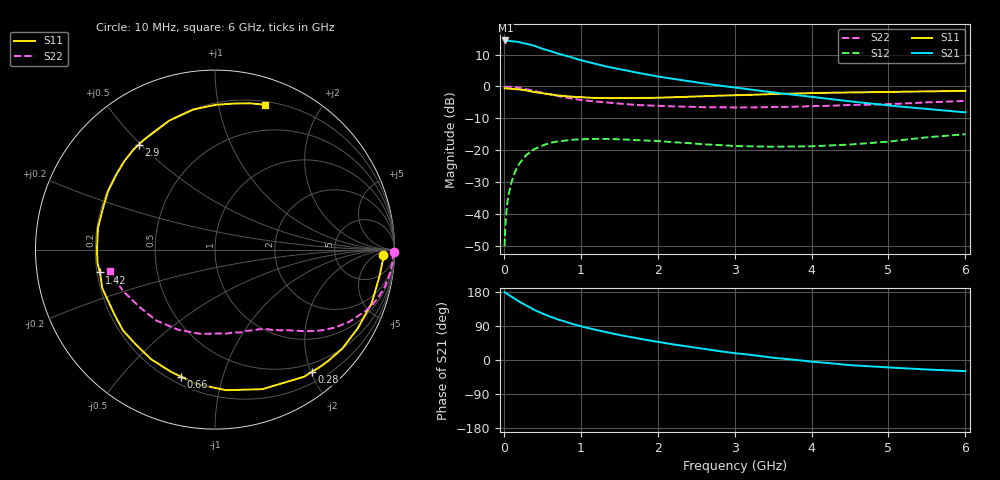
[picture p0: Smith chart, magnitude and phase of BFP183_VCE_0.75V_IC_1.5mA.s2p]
! Infineon Technologies  Discrete & RF Semiconductors
! BFP183
! VCE = 0.75V,  IC =  1.5 mA
! Common Emitter S-Parameters:  Jan 2016
# GHz  S  MA  R  50
!  f  S11  S21  S12  S22
! GHz  MAG  ANG  MAG  ANG  MAG  ANG  MAG  ANG
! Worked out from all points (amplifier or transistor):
!   210 points, 10 MHz to 6 GHz, reference 50 ohm
!   highest |S21| = 14.5 dB at 20 MHz (marker M1)
!   |S21| within 3 dB of that: start of sweep to 557.9 MHz
!   unconditionally stable (mu >= 1): 2.136 GHz to end of sweep
!   at 185 MHz: K = 0.10, MSG = 19.5 dB, |S12| = -25.0 dB
!   at 1.52 GHz: K = 0.70, MSG = 11.0 dB, |S12| = -16.6 dB
!   at 6 GHz: K = 1.20, MAG = 0.7 dB, |S12| = -15.0 dB
!   S11 on the Smith chart (normalised r, x): 10 MHz: 25, -12; 280 MHz: 0.36, -2.02; 660 MHz: 0.24, -0.74; 1.42 GHz: 0.21, -0.09; 2.9 GHz: 0.20, +0.49; 6 GHz: 0.23, +1.38
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0.01  0.937 -1.8  5.199 179.1  0.0031 85.3  0.9981 -0.8
0.02  0.9368 -3.8  5.282 178.0  0.0065 88.4  0.9897 -1.6
0.05  0.9279 -9.6  5.274 173.4  0.0162 86.4  0.9922 -4.1
0.1  0.9226 -18.9  5.114 167.1  0.0314 78.4  0.9825 -8.1
0.15  0.9084 -28.7  5.095 160.5  0.0468 73.1  0.9688 -12.2
0.195  0.8986 -36.9  4.99 154.8  0.0593 68.1  0.9519 -15.5
0.28  0.8695 -51.5  4.719 145.1  0.0805 60.1  0.9129 -21.3
0.4  0.8213 -71.2  4.348 131.9  0.1044 49.6  0.8487 -28.3
0.5  0.7858 -85.5  3.924 122.6  0.1183 42.1  0.7962 -33.1
0.66  0.7326 -105.0  3.421 110.4  0.134 32.4  0.7243 -38.6
0.8  0.7067 -120.3  3.062 100.6  0.1421 25.7  0.6719 -42.6
1.02  0.6784 -140.3  2.553 88.1  0.1484 17.3  0.611 -47.4
1.2  0.6612 -154.2  2.245 79.3  0.1509 11.4  0.5799 -50.9
1.42  0.6546 -168.8  1.956 69.7  0.1493 6.4  0.5483 -54.7
1.6  0.6575 -179.6  1.776 62.3  0.1465 3.3  0.5271 -57.5
2.02  0.6662 159.1  1.423 47.3  0.1384 -1.6  0.4961 -64.9
2.4  0.6895 143.3  1.211 35.2  0.1292 -4.4  0.4828 -73.1
2.9  0.7228 126.0  0.998 20.7  0.1182 -3.5  0.4698 -84.5
3.1  0.7323 120.1  0.93 16.0  0.1154 -2.0  0.4677 -89.6
4.1  0.7915 97.0  0.666 -6.0  0.1165 7.8  0.4926 -117.6
5.1  0.8233 81.4  0.49 -20.8  0.1405 15.3  0.5345 -146.2
6  0.854 70.9  0.392 -29.5  0.1778 12.4  0.5958 -168.5
